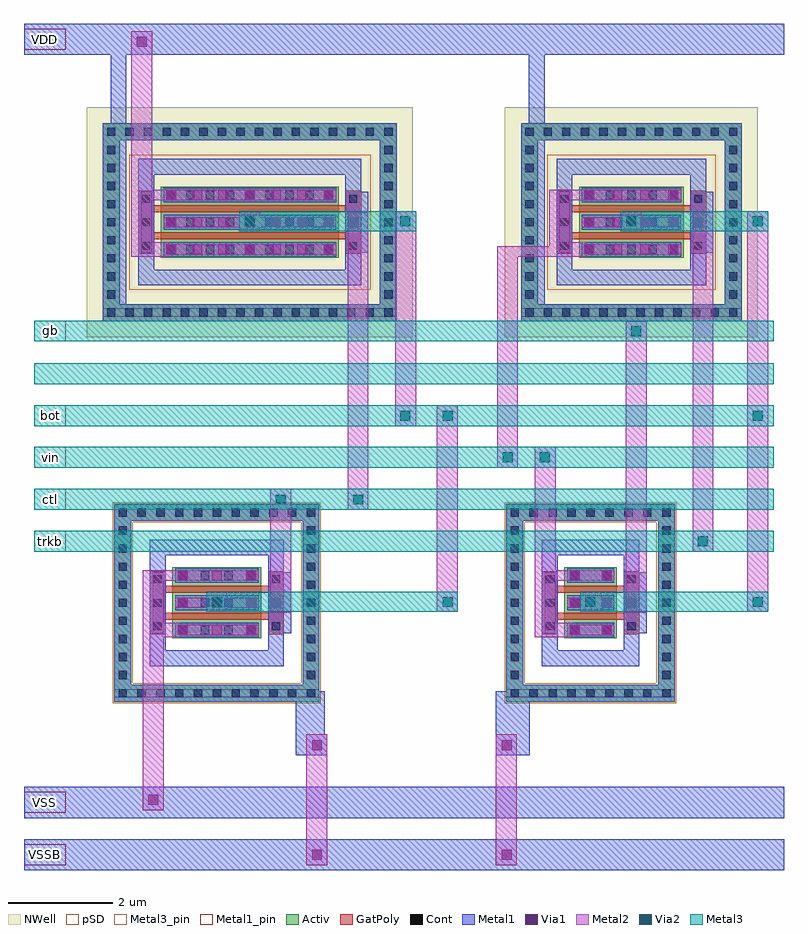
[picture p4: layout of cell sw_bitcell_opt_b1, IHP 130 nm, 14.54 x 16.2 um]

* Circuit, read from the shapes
.subckt sw_bitcell_opt_b1 VDD VSS VSSB bot ctl gb trkb vin
XM1 bot ctl VSS VSSB sg13_lv_nmos w=1.7u l=0.13u m=2
XM2 bot gb vin VSSB sg13_lv_nmos w=1u l=0.13u m=2
XM3 bot ctl VDD VDD sg13_lv_pmos w=3.4u l=0.13u m=2
XM4 bot trkb vin VDD sg13_lv_pmos w=2u l=0.13u m=2
.ends

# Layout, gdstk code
import gdstk
lib = gdstk.Library(unit=1e-6, precision=1e-09)
def R(c, l, rs):  # rectangles x0, y0, x1, y1
    for r in rs: c.add(gdstk.rectangle(r[:2], r[2:], *l))
def A(c, l, x, y, w, h, nx, ny, dx, dy):  # array of equal rectangles
    R(c, l, [(x+i*dx, y+j*dy, x+i*dx+w, y+j*dy+h) for i in range(nx) for j in range(ny)])
def P(c, l, *ps):  # polygons
    for p in ps: c.add(gdstk.Polygon(p, *l))
Activ = (1, 0)
GatPoly = (5, 0)
Cont = (6, 0)
Metal1 = (8, 0)
Metal1_pin = (8, 2)
Metal2 = (10, 0)
pSD = (14, 0)
Via1 = (19, 0)
Via2 = (29, 0)
Metal3 = (30, 0)
Metal3_pin = (30, 2)
NWell = (31, 0)

rfnmos_7 = lib.new_cell('rfnmos$7')
R(rfnmos_7, Activ, [(1.14,1.245,2.84,2.595)])
P(rfnmos_7, Activ, [(0.03,0.03),(0.03,3.49),(0.35,3.49),(0.35,0.35),(3.63,0.35),(3.63,3.49),(0.03,3.49),(0.03,3.81),(3.95,3.81),(3.95,0.03)])
R(rfnmos_7, GatPoly, [(0.71,1.32,1.01,2.52), (2.97,1.32,3.27,2.52), (1.01,1.595,2.97,1.725), (1.01,2.115,2.97,2.245)])
A(rfnmos_7, Cont, 0.11, 0.11, 0.16, 0.16, 11, 2, 0.36, 3.46)
A(rfnmos_7, Cont, 0.11, 0.46, 0.16, 0.16, 1, 9, 0, 0.345)
A(rfnmos_7, Cont, 3.71, 0.46, 0.16, 0.16, 1, 9, 0, 0.345)
A(rfnmos_7, Cont, 1.24, 1.32, 0.16, 0.16, 3, 3, 0.445, 0.52)
A(rfnmos_7, Cont, 2.58, 1.32, 0.16, 0.16, 1, 3, 0, 0.52)
A(rfnmos_7, Cont, 0.78, 1.39, 0.16, 0.16, 1, 3, 0, 0.45)
A(rfnmos_7, Cont, 3.04, 1.39, 0.16, 0.16, 1, 3, 0, 0.45)
A(rfnmos_7, Metal1, 1.19, 1.26, 1.6, 0.28, 1, 3, 0, 0.52)
R(rfnmos_7, Metal1, [(0.03,0.03,3.95,0.35), (0.03,0.35,0.35,3.49), (3.63,0.35,3.95,3.49), (0.76,1.34,0.96,2.5), (3.02,1.34,3.22,2.5), (0.03,3.49,3.95,3.81)])
P(rfnmos_7, Metal1, [(0.71,0.71),(0.71,2.83),(1.01,2.83),(1.01,1.01),(2.97,1.01),(2.97,2.83),(0.71,2.83),(0.71,3.13),(3.27,3.13),(3.27,0.71)])
R(rfnmos_7, Metal1_pin, [(0.03,0.11,3.95,0.27), (0.03,0.11,3.95,0.27), (1.19,1.26,2.79,1.54), (1.19,1.26,2.79,1.54), (0.76,1.34,0.96,2.5), (0.76,1.34,0.96,2.5), (1.19,1.78,2.79,2.06), (1.19,1.78,2.79,2.06)])
A(rfnmos_7, Metal2, 1.19, 1.3, 1.6, 0.2, 1, 3, 0, 0.52)
P(rfnmos_7, pSD, [(0,0),(0,3.46),(0.38,3.46),(0.38,0.38),(3.6,0.38),(3.6,3.46),(0,3.46),(0,3.84),(3.98,3.84),(3.98,0)])
A(rfnmos_7, Via1, 1.24, 1.305, 0.19, 0.19, 3, 3, 0.655, 0.52)
rfnmos_7.add(gdstk.Label('S', (1.99,1.42), layer=63, texttype=0))
rfnmos_7.add(gdstk.Label('D', (1.99,1.94), layer=63, texttype=0))
rfnmos_7.add(gdstk.Label('G', (0.86,1.92), layer=63, texttype=0))
rfnmos_7.add(gdstk.Label('TIE', (1.99,0.19), layer=63, texttype=0))
rfnmos_7.add(gdstk.Label('rfnmos', (1.99,3.65), layer=63, texttype=0))

rfpmos_6 = lib.new_cell('rfpmos$6')
R(rfpmos_6, Activ, [(1.42,1.525,4.82,2.875)])
P(rfpmos_6, Activ, [(0.31,0.31),(0.31,3.77),(0.63,3.77),(0.63,0.63),(5.61,0.63),(5.61,3.77),(0.31,3.77),(0.31,4.09),(5.93,4.09),(5.93,0.31)])
R(rfpmos_6, GatPoly, [(0.99,1.6,1.29,2.8), (4.95,1.6,5.25,2.8), (1.29,1.875,4.95,2.005), (1.29,2.395,4.95,2.525)])
A(rfpmos_6, Cont, 0.74, 0.39, 0.16, 0.16, 3, 2, 0.355, 3.46)
A(rfpmos_6, Cont, 1.8, 0.39, 0.16, 0.16, 3, 2, 0.355, 3.46)
A(rfpmos_6, Cont, 2.86, 0.39, 0.16, 0.16, 3, 2, 0.355, 3.46)
A(rfpmos_6, Cont, 3.92, 0.39, 0.16, 0.16, 3, 2, 0.355, 3.46)
A(rfpmos_6, Cont, 4.98, 0.39, 0.16, 0.16, 3, 2, 0.355, 3.46)
A(rfpmos_6, Cont, 0.39, 0.74, 0.16, 0.16, 1, 9, 0, 0.345)
A(rfpmos_6, Cont, 5.69, 0.74, 0.16, 0.16, 1, 9, 0, 0.345)
A(rfpmos_6, Cont, 1.52, 1.6, 0.16, 0.16, 9, 3, 0.38, 0.52)
A(rfpmos_6, Cont, 1.06, 1.67, 0.16, 0.16, 1, 3, 0, 0.45)
A(rfpmos_6, Cont, 5.02, 1.67, 0.16, 0.16, 1, 3, 0, 0.45)
R(rfpmos_6, Cont, [(0.39,0.39,0.55,0.55), (0.39,3.85,0.55,4.01)])
A(rfpmos_6, Metal1, 1.47, 1.54, 3.3, 0.28, 1, 3, 0, 0.52)
R(rfpmos_6, Metal1, [(0.31,0.31,5.93,0.63), (0.31,0.63,0.63,3.77), (5.61,0.63,5.93,3.77), (1.04,1.62,1.24,2.78), (5,1.62,5.2,2.78), (0.31,3.77,5.93,4.09)])
P(rfpmos_6, Metal1, [(0.99,0.99),(0.99,3.11),(1.29,3.11),(1.29,1.29),(4.95,1.29),(4.95,3.11),(0.99,3.11),(0.99,3.41),(5.25,3.41),(5.25,0.99)])
R(rfpmos_6, Metal1_pin, [(0.31,0.39,5.93,0.55), (0.31,0.39,5.93,0.55), (1.47,1.54,4.77,1.82), (1.47,1.54,4.77,1.82), (1.04,1.62,1.24,2.78), (1.04,1.62,1.24,2.78), (1.47,2.06,4.77,2.34), (1.47,2.06,4.77,2.34)])
A(rfpmos_6, Metal2, 1.47, 1.58, 3.3, 0.2, 1, 3, 0, 0.52)
R(rfpmos_6, pSD, [(0.81,0.91,5.43,3.49)])
A(rfpmos_6, Via1, 1.52, 1.585, 0.19, 0.19, 3, 3, 0.5, 0.52)
A(rfpmos_6, Via1, 3.025, 1.585, 0.19, 0.19, 3, 3, 0.5, 0.52)
A(rfpmos_6, Via1, 4.53, 1.585, 0.19, 0.19, 1, 3, 0, 0.52)
R(rfpmos_6, NWell, [(0,0,6.24,4.4)])
rfpmos_6.add(gdstk.Label('S', (3.12,1.7), layer=63, texttype=0))
rfpmos_6.add(gdstk.Label('D', (3.12,2.22), layer=63, texttype=0))
rfpmos_6.add(gdstk.Label('G', (1.14,2.2), layer=63, texttype=0))
rfpmos_6.add(gdstk.Label('TIE', (3.12,0.47), layer=63, texttype=0))
rfpmos_6.add(gdstk.Label('rfpmos', (3.12,3.93), layer=63, texttype=0))

rfnmos_1_3 = lib.new_cell('rfnmos$1$3')
R(rfnmos_1_3, Activ, [(1.14,1.245,2.14,2.595)])
P(rfnmos_1_3, Activ, [(0.03,0.03),(0.03,3.49),(0.35,3.49),(0.35,0.35),(2.93,0.35),(2.93,3.49),(0.03,3.49),(0.03,3.81),(3.25,3.81),(3.25,0.03)])
R(rfnmos_1_3, GatPoly, [(0.71,1.32,1.01,2.52), (2.27,1.32,2.57,2.52), (1.01,1.595,2.27,1.725), (1.01,2.115,2.27,2.245)])
A(rfnmos_1_3, Cont, 0.11, 0.46, 0.16, 0.16, 1, 9, 0, 0.345)
A(rfnmos_1_3, Cont, 3.01, 0.46, 0.16, 0.16, 1, 9, 0, 0.345)
A(rfnmos_1_3, Cont, 1.24, 1.32, 0.16, 0.16, 1, 3, 0, 0.52)
A(rfnmos_1_3, Cont, 1.88, 1.32, 0.16, 0.16, 1, 3, 0, 0.52)
A(rfnmos_1_3, Cont, 0.78, 1.39, 0.16, 0.16, 1, 3, 0, 0.45)
A(rfnmos_1_3, Cont, 2.34, 1.39, 0.16, 0.16, 1, 3, 0, 0.45)
R(rfnmos_1_3, Cont, [(0.11,0.11,0.27,0.27), (0.47,0.11,0.63,0.27), (0.835,0.11,0.995,0.27), (1.195,0.11,1.355,0.27), (1.56,0.11,1.72,0.27), (1.92,0.11,2.08,0.27), (2.285,0.11,2.445,0.27), (2.645,0.11,2.805,0.27), (3.01,0.11,3.17,0.27), (0.11,3.57,0.27,3.73), (0.47,3.57,0.63,3.73), (0.835,3.57,0.995,3.73), (1.195,3.57,1.355,3.73), (1.56,3.57,1.72,3.73), (1.92,3.57,2.08,3.73), (2.285,3.57,2.445,3.73), (2.645,3.57,2.805,3.73), (3.01,3.57,3.17,3.73)])
A(rfnmos_1_3, Metal1, 1.19, 1.26, 0.9, 0.28, 1, 3, 0, 0.52)
R(rfnmos_1_3, Metal1, [(0.03,0.03,3.25,0.35), (0.03,0.35,0.35,3.49), (2.93,0.35,3.25,3.49), (0.76,1.34,0.96,2.5), (2.32,1.34,2.52,2.5), (0.03,3.49,3.25,3.81)])
P(rfnmos_1_3, Metal1, [(0.71,0.71),(0.71,2.83),(1.01,2.83),(1.01,1.01),(2.27,1.01),(2.27,2.83),(0.71,2.83),(0.71,3.13),(2.57,3.13),(2.57,0.71)])
R(rfnmos_1_3, Metal1_pin, [(0.03,0.11,3.25,0.27), (0.03,0.11,3.25,0.27), (1.19,1.26,2.09,1.54), (1.19,1.26,2.09,1.54), (0.76,1.34,0.96,2.5), (0.76,1.34,0.96,2.5), (1.19,1.78,2.09,2.06), (1.19,1.78,2.09,2.06)])
A(rfnmos_1_3, Metal2, 1.19, 1.3, 0.9, 0.2, 1, 3, 0, 0.52)
P(rfnmos_1_3, pSD, [(0,0),(0,3.46),(0.38,3.46),(0.38,0.38),(2.9,0.38),(2.9,3.46),(0,3.46),(0,3.84),(3.28,3.84),(3.28,0)])
A(rfnmos_1_3, Via1, 1.24, 1.305, 0.19, 0.19, 1, 3, 0, 0.52)
A(rfnmos_1_3, Via1, 1.85, 1.305, 0.19, 0.19, 1, 3, 0, 0.52)
rfnmos_1_3.add(gdstk.Label('S', (1.64,1.42), layer=63, texttype=0))
rfnmos_1_3.add(gdstk.Label('D', (1.64,1.94), layer=63, texttype=0))
rfnmos_1_3.add(gdstk.Label('G', (0.86,1.92), layer=63, texttype=0))
rfnmos_1_3.add(gdstk.Label('TIE', (1.64,0.19), layer=63, texttype=0))
rfnmos_1_3.add(gdstk.Label('rfnmos', (1.64,3.65), layer=63, texttype=0))

rfpmos_1_3 = lib.new_cell('rfpmos$1$3')
R(rfpmos_1_3, Activ, [(1.42,1.525,3.42,2.875)])
P(rfpmos_1_3, Activ, [(0.31,0.31),(0.31,3.77),(0.63,3.77),(0.63,0.63),(4.21,0.63),(4.21,3.77),(0.31,3.77),(0.31,4.09),(4.53,4.09),(4.53,0.31)])
R(rfpmos_1_3, GatPoly, [(0.99,1.6,1.29,2.8), (3.55,1.6,3.85,2.8), (1.29,1.875,3.55,2.005), (1.29,2.395,3.55,2.525)])
A(rfpmos_1_3, Cont, 0.74, 0.39, 0.16, 0.16, 11, 2, 0.355, 3.46)
A(rfpmos_1_3, Cont, 0.39, 0.74, 0.16, 0.16, 1, 9, 0, 0.345)
A(rfpmos_1_3, Cont, 4.29, 0.74, 0.16, 0.16, 1, 9, 0, 0.345)
A(rfpmos_1_3, Cont, 1.52, 1.6, 0.16, 0.16, 5, 3, 0.41, 0.52)
A(rfpmos_1_3, Cont, 1.06, 1.67, 0.16, 0.16, 1, 3, 0, 0.45)
A(rfpmos_1_3, Cont, 3.62, 1.67, 0.16, 0.16, 1, 3, 0, 0.45)
R(rfpmos_1_3, Cont, [(0.39,0.39,0.55,0.55), (0.39,3.85,0.55,4.01)])
A(rfpmos_1_3, Metal1, 1.47, 1.54, 1.9, 0.28, 1, 3, 0, 0.52)
R(rfpmos_1_3, Metal1, [(0.31,0.31,4.53,0.63), (0.31,0.63,0.63,3.77), (4.21,0.63,4.53,3.77), (1.04,1.62,1.24,2.78), (3.6,1.62,3.8,2.78), (0.31,3.77,4.53,4.09)])
P(rfpmos_1_3, Metal1, [(0.99,0.99),(0.99,3.11),(1.29,3.11),(1.29,1.29),(3.55,1.29),(3.55,3.11),(0.99,3.11),(0.99,3.41),(3.85,3.41),(3.85,0.99)])
R(rfpmos_1_3, Metal1_pin, [(0.31,0.39,4.53,0.55), (0.31,0.39,4.53,0.55), (1.47,1.54,3.37,1.82), (1.47,1.54,3.37,1.82), (1.04,1.62,1.24,2.78), (1.04,1.62,1.24,2.78), (1.47,2.06,3.37,2.34), (1.47,2.06,3.37,2.34)])
A(rfpmos_1_3, Metal2, 1.47, 1.58, 1.9, 0.2, 1, 3, 0, 0.52)
R(rfpmos_1_3, pSD, [(0.81,0.91,4.03,3.49)])
A(rfpmos_1_3, Via1, 1.52, 1.585, 0.19, 0.19, 3, 3, 0.535, 0.52)
A(rfpmos_1_3, Via1, 3.13, 1.585, 0.19, 0.19, 1, 3, 0, 0.52)
R(rfpmos_1_3, NWell, [(0,0,4.84,4.4)])
rfpmos_1_3.add(gdstk.Label('S', (2.42,1.7), layer=63, texttype=0))
rfpmos_1_3.add(gdstk.Label('D', (2.42,2.22), layer=63, texttype=0))
rfpmos_1_3.add(gdstk.Label('G', (1.14,2.2), layer=63, texttype=0))
rfpmos_1_3.add(gdstk.Label('TIE', (2.42,0.47), layer=63, texttype=0))
rfpmos_1_3.add(gdstk.Label('rfpmos', (2.42,3.93), layer=63, texttype=0))

sw_bitcell_opt_b1 = lib.new_cell('sw_bitcell_opt_b1')
R(sw_bitcell_opt_b1, Metal1, [(-1.2,-3.2,13.34,-2.6), (4.2,-3.1,4.6,-2.7), (7.83,-3.1,8.23,-2.7), (-1.2,-2.2,13.34,-1.6), (1.07,-2.05,1.47,-1.65), (4,-1,4.55,0.23), (4.2,-1,4.6,-0.6), (7.83,-1,8.23,-0.6), (7.83,-1,8.48,0.23), (3.51,1.34,3.91,2.5), (10.31,1.34,10.71,2.5), (0.46,7.44,0.76,12.4), (8.46,7.44,8.76,12.4), (4.99,8.62,5.39,9.78), (11.59,8.62,11.99,9.78), (-1.2,12.4,13.34,13), (0.85,12.45,1.25,12.85)])
R(sw_bitcell_opt_b1, Metal1_pin, [(-1.2,-3.1,-0.4,-2.7), (-1.2,-2.1,-0.4,-1.7), (-1.2,12.5,-0.4,12.9)])
R(sw_bitcell_opt_b1, Metal2, [(4.2,-3.1,4.6,-2.7), (7.83,-3.1,8.23,-2.7), (4.2,-2.9,4.6,-0.8), (7.83,-2.9,8.23,-0.8), (1.07,-2.05,1.47,-1.65), (1.07,-1.9,1.47,1.46), (4.2,-1,4.6,-0.6), (7.83,-1,8.23,-0.6), (1.07,1.26,1.79,1.54), (1.07,1.26,1.47,2.54), (8.57,1.26,9.29,1.54), (8.57,1.26,8.97,2.54), (3.51,1.73,3.91,2.11), (10.31,1.73,10.71,2.11), (2.29,1.75,2.69,2.13), (6.7,1.75,7.1,2.13), (9.44,1.75,9.84,2.13), (12.64,1.75,13.04,2.13), (3.51,1.92,3.91,3.9), (10.31,1.92,10.71,7.12), (6.7,1.94,7.1,5.5), (12.64,1.94,13.04,5.5), (1.07,2.34,1.79,2.54), (8.57,2.34,9.29,2.54), (8.57,2.4,8.97,4.9), (11.59,2.9,11.99,3.3), (11.59,3.1,11.99,9.2), (3.51,3.7,3.91,4.1), (4.99,3.7,5.39,4.1), (4.99,3.9,5.39,9.2), (7.85,4.5,8.25,4.9), (7.85,4.5,8.25,8.74), (8.57,4.5,8.97,4.9), (5.9,5.3,6.3,5.7), (6.7,5.3,7.1,5.7), (12.64,5.3,13.04,5.7), (12.64,5.3,13.04,5.7), (5.9,5.5,6.3,9.22), (12.64,5.5,13.04,9.22), (10.31,6.93,10.71,7.31), (0.85,8.54,1.57,8.82), (0.85,8.54,1.25,9.82), (7.85,8.54,9.25,8.74), (8.85,8.54,9.57,8.82), (8.85,8.54,9.25,9.82), (4.99,9.01,5.39,9.39), (11.59,9.01,11.99,9.39), (2.92,9.03,3.32,9.41), (5.9,9.03,6.3,9.41), (10.22,9.03,10.62,9.41), (12.64,9.03,13.04,9.41), (0.85,9.62,1.57,9.82), (0.85,9.62,1.25,12.7), (8.85,9.62,9.57,9.82), (0.85,12.45,1.25,12.85)])
R(sw_bitcell_opt_b1, Via1, [(4.31,-3,4.5,-2.81), (7.94,-3,8.13,-2.81), (1.18,-1.94,1.37,-1.75), (4.31,-0.9,4.5,-0.71), (7.94,-0.9,8.13,-0.71), (3.52,1.82,3.71,2.01), (10.32,1.82,10.51,2.01), (5,9.1,5.19,9.29), (11.6,9.1,11.79,9.29), (0.96,12.56,1.15,12.75)])
R(sw_bitcell_opt_b1, Via2, [(2.4,1.84,2.59,2.03), (6.81,1.84,7,2.03), (9.54,1.84,9.73,2.03), (12.74,1.84,12.93,2.03), (11.69,3,11.88,3.19), (3.62,3.8,3.81,3.99), (5.1,3.8,5.29,3.99), (7.96,4.61,8.15,4.8), (8.67,4.61,8.86,4.8), (6,5.4,6.19,5.59), (6.81,5.4,7,5.59), (12.74,5.4,12.93,5.59), (12.74,5.4,12.93,5.59), (10.42,7.02,10.61,7.21), (3.02,9.12,3.21,9.31), (6,9.12,6.19,9.31), (10.32,9.12,10.51,9.31), (12.74,9.12,12.93,9.31)])
A(sw_bitcell_opt_b1, Metal3, -1, 2.9, 14.14, 0.4, 1, 5, 0, 0.8)
R(sw_bitcell_opt_b1, Metal3, [(2.29,1.75,7.1,2.13), (2.29,1.75,2.69,2.13), (6.7,1.75,7.1,2.13), (9.44,1.75,9.84,2.13), (9.44,1.75,13.04,2.13), (12.64,1.75,13.04,2.13), (11.59,2.9,11.99,3.3), (3.51,3.7,3.91,4.1), (4.99,3.7,5.39,4.1), (7.85,4.5,8.25,4.9), (8.57,4.5,8.97,4.9), (5.9,5.3,6.3,5.7), (6.7,5.3,7.1,5.7), (12.64,5.3,13.04,5.7), (12.64,5.3,13.04,5.7), (-1,6.92,13.14,7.32), (10.31,6.93,10.71,7.31), (2.92,9.03,3.32,9.41), (2.92,9.03,6.3,9.41), (5.9,9.03,6.3,9.41), (10.22,9.03,10.62,9.41), (10.22,9.03,13.04,9.41), (12.64,9.03,13.04,9.41)])
A(sw_bitcell_opt_b1, Metal3_pin, -1, 2.9, 0.6, 0.4, 1, 4, 0, 0.8)
R(sw_bitcell_opt_b1, Metal3_pin, [(-1,6.92,-0.4,7.32)])
sw_bitcell_opt_b1.add(gdstk.Reference(rfnmos_7, (0.5,0)))
sw_bitcell_opt_b1.add(gdstk.Reference(rfpmos_6, (0,7)))
sw_bitcell_opt_b1.add(gdstk.Reference(rfnmos_1_3, (8,0)))
sw_bitcell_opt_b1.add(gdstk.Reference(rfpmos_1_3, (8,7)))
sw_bitcell_opt_b1.add(gdstk.Label('VSS', (-0.8,-1.9), layer=8, texttype=25))
sw_bitcell_opt_b1.add(gdstk.Label('VSSB', (-0.8,-2.9), layer=8, texttype=25))
sw_bitcell_opt_b1.add(gdstk.Label('VDD', (-0.8,12.7), layer=8, texttype=25))
sw_bitcell_opt_b1.add(gdstk.Label('bot', (-0.7,5.5), layer=30, texttype=25))
sw_bitcell_opt_b1.add(gdstk.Label('vin', (-0.7,4.7), layer=30, texttype=25))
sw_bitcell_opt_b1.add(gdstk.Label('ctl', (-0.7,3.9), layer=30, texttype=25))
sw_bitcell_opt_b1.add(gdstk.Label('trkb', (-0.7,3.1), layer=30, texttype=25))
sw_bitcell_opt_b1.add(gdstk.Label('gb', (-0.7,7.12), layer=30, texttype=25))

lib.write_gds('sw_bitcell_opt_b1.gds')
